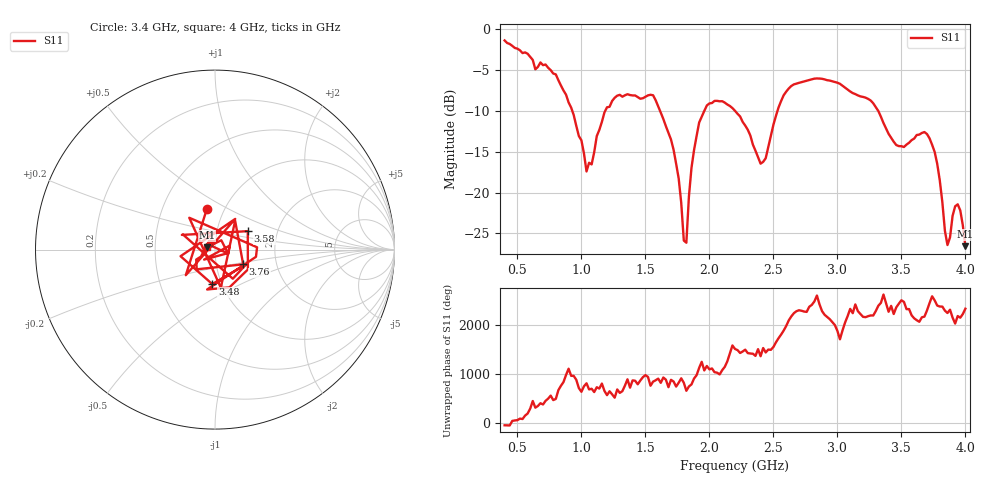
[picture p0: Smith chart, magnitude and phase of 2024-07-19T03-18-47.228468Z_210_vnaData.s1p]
!Created with skrf (http://scikit-rf.org).
# Hz S RI R 50.0
!freq ReS11 ImS11
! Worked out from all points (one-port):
!   181 points, 400 MHz to 4 GHz, reference 50 ohm
!   lowest |S11| = -26.6 dB at 4 GHz (marker M1), VSWR 1.10, Z = 45.7 + j1.16 ohm
!   |S11| at or under -10 dB: 1.615 GHz to 1.96 GHz (345.3 MHz wide, 19.3 % of centre); 2.201 GHz to 2.532 GHz (330.8 MHz wide, 14 % of centre); 3.319 GHz to end of sweep (the widest 3 of 4)
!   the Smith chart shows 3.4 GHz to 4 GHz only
!   S11 on the Smith chart (normalised r, x): 3.4 GHz: 0.83, +0.39; 3.48 GHz: 0.90, -0.36; 3.58 GHz: 1.41, +0.30; 3.76 GHz: 1.35, -0.23; 4 GHz: 0.91, +0.02
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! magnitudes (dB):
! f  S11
! 400 MHz  -1.4
! 860 MHz  -7.5
! 1.04 GHz  -17.4
! 1.18 GHz  -10.2
! 1.3 GHz  -8.0
! 1.56 GHz  -8.1
! 1.7 GHz  -13.5
! 1.76 GHz  -18.3
! 1.8 GHz  -25.9
! 1.82 GHz  -26.2
! 1.86 GHz  -17.0
! 1.92 GHz  -11.4
! 2.04 GHz  -8.8
! 2.2 GHz  -10.0
! 2.4 GHz  -16.5
! 2.56 GHz  -8.8
! 2.66 GHz  -6.7
! 3.1 GHz  -7.6
! 3.28 GHz  -9.1
! 3.4 GHz  -12.8
! 3.48 GHz  -14.3
! 3.56 GHz  -13.9
! 3.58 GHz  -13.6
! 3.68 GHz  -12.6
! 3.76 GHz  -15.0
! 3.86 GHz  -26.4
! 3.94 GHz  -21.5
! 4 GHz  -26.6
